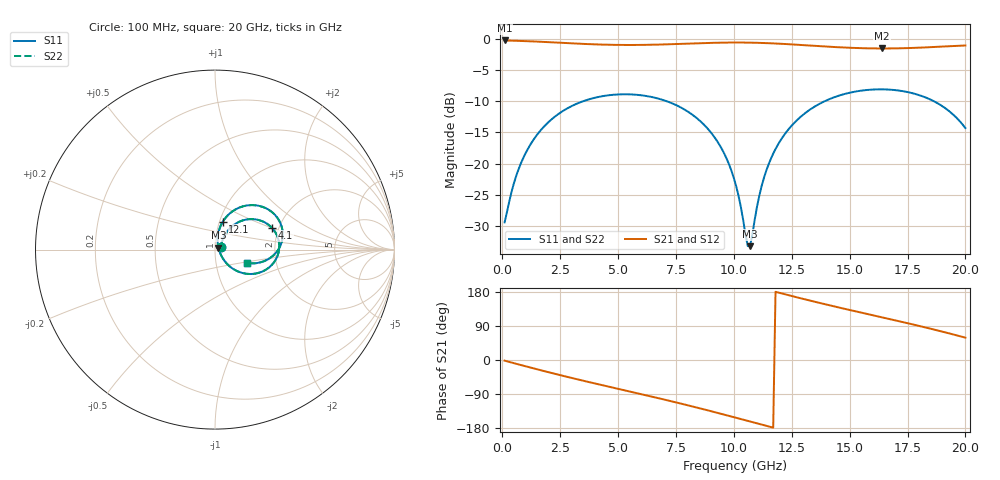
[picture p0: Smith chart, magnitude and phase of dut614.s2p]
! Touchstone file exported from HFSS 2026.1.0
!  File:  C:/ffzhzh/LocalFiles/Ansys_Project_Files/temp_train_TSV_RDL_614_1783123947_46604.aedt
!  Generated:  08:21:12 AM Jul  4, 2026
!  Design:  TSV_RDL
!  Project:  temp_train_TSV_RDL_614_1783123947_46604
! Variables:
!  h_bsmrdl = 5.25um
!  h_ox = 20um
!  h_rdl = 5um
!  h_sub = 95.74um
!  h_tmrdl = 4.55um
!  h_tsv = 95.74um
!  h_via = 3um
!  l_bsmrdl = 158.77um
!  l_sub = 4588.95um
!  l_tmrdl = 910.88um
!  m_sub = 200um
!  pitch = 25.87um
!  r_tsv = 9.08um
!  s_tmrdl = 10um
!  w_bsmrdl = 12.99um
!  w_sub = 500um
!  w_tmrdl = 10.05um
!  x_tsv_center1 = 915.905um
!  x_tsv_center2 = 1087.665um
!  x_tsv_center3 = 2008.595um
!  x_tsv_center4 = 2180.355um
!  x_tsv_center5 = 3101.285um
!  x_tsv_center6 = 3273.045um
# GHz S MA R 50.000000
! Terminal data exported
! Port[1] = TM_RDL1_1_T1
! Port[2] = TM_RDL5_1_T1
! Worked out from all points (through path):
!   200 points, 100 MHz to 20 GHz, reference 50 ohm
!   highest |S21| = -0.28 dB at 100 MHz (marker M1); lowest = -1.6 dB at 16.4 GHz (marker M2)
!   group delay of S21, straight-line fit = 41.7 ps
!   lowest |S11| = -33.2 dB at 10.7 GHz (marker M3), VSWR 1.04, Z = 51.9 + j1.07 ohm
!   |S11| at or under -10 dB: start of sweep to 3.502 GHz; 7.088 GHz to 13.93 GHz (6.844 GHz wide, 65.1 % of centre); 18.63 GHz to end of sweep
!   |S22| runs from -33.2 to -8.1 dB; largest |S21 - S12| = 1.6e-14
!   S11 on the Smith chart (normalised r, x): 100 MHz: 1.07, +0.03; 4.1 GHz: 1.84, +0.50; 12.1 GHz: 1.04, +0.33; 20 GHz: 1.41, -0.22
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0.1  0.03379 20.5  0.9686 -1.7  0.9686 -1.7  0.03379 20.5
! Gamma 0 0 0 0
! Port Impedance 50 0 50 0
0.6  0.07951 54.1  0.9627 -10.0  0.9627 -10.0  0.07951 54.1
1.3  0.1504 54.6  0.9524 -21.3  0.9524 -21.3  0.1504 54.6
2.3  0.2399 44.1  0.9328 -36.9  0.9328 -36.9  0.2399 44.1
3.5  0.3161 28.7  0.9091 -54.8  0.9091 -54.8  0.3161 28.7
4.1  0.34 20.8  0.9 -63.4  0.9 -63.4  0.34 20.8
5.5  0.3584 2.4  0.891 -83.1  0.891 -83.1  0.3584 2.4
6.8  0.3289 -14.7  0.8981 -101.6  0.8981 -101.6  0.3289 -14.7
8.9  0.1876 -42.2  0.925 -133.3  0.925 -133.3  0.1876 -42.2
9.6  0.1186 -49.2  0.931 -144.4  0.931 -144.4  0.1186 -49.1
10.1  0.06585 -48.5  0.9324 -152.5  0.9324 -152.5  0.06593 -48.3
10.6  0.02186 -0.6  0.931 -160.7  0.931 -160.7  0.02209 -0.4
10.7  0.02177 28.2  0.9304 -162.3  0.9304 -162.3  0.022 28.1
11  0.04504 70.9  0.9277 -167.2  0.9277 -167.2  0.04515 70.6
11.3  0.07675 78.2  0.924 -172.0  0.924 -172.0  0.07681 78.0
12.1  0.1619 74.4  0.9098 175.1  0.9098 175.1  0.1619 74.3
13.4  0.2792 58.5  0.8793 155.1  0.8793 155.1  0.2792 58.4
14.8  0.3615 40.4  0.8496 134.8  0.8496 134.8  0.3615 40.4
16.4  0.3931 20.3  0.8354 112.6  0.8354 112.6  0.3931 20.2
16.7  0.3913 16.5  0.8357 108.4  0.8357 108.4  0.3913 16.5
18.6  0.3183 -7.3  0.8576 81.1  0.8576 81.1  0.3183 -7.3
20  0.1923 -22.7  0.8829 58.9  0.8829 58.9  0.1923 -22.7
